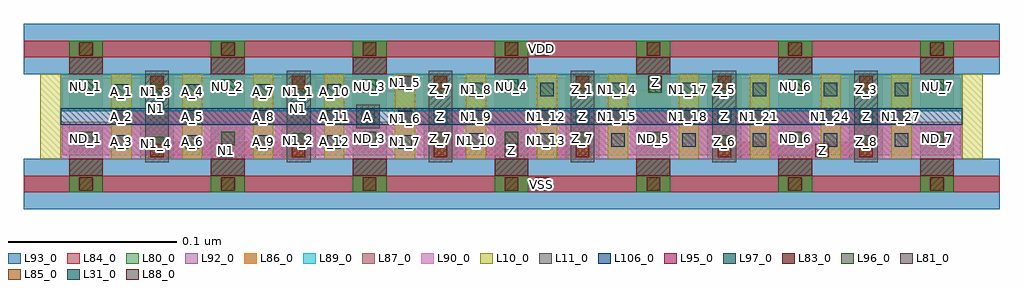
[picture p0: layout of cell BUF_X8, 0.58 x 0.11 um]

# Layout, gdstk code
import gdstk
lib = gdstk.Library(unit=1e-6, precision=1e-09)
def R(c, l, rs):  # rectangles x0, y0, x1, y1
    for r in rs: c.add(gdstk.rectangle(r[:2], r[2:], *l))
def A(c, l, x, y, w, h, nx, ny, dx, dy):  # array of equal rectangles
    R(c, l, [(x+i*dx, y+j*dy, x+i*dx+w, y+j*dy+h) for i in range(nx) for j in range(ny)])
L10_0 = (10, 0)
L11_0 = (11, 0)
L31_0 = (31, 0)
L80_0 = (80, 0)
L81_0 = (81, 0)
L83_0 = (83, 0)
L84_0 = (84, 0)
L85_0 = (85, 0)
L86_0 = (86, 0)
L87_0 = (87, 0)
L88_0 = (88, 0)
L89_0 = (89, 0)
L90_0 = (90, 0)
L92_0 = (92, 0)
L93_0 = (93, 0)
L95_0 = (95, 0)
L96_0 = (96, 0)
L97_0 = (97, 0)
L106_0 = (106, 0)

buf_x8 = lib.new_cell('BUF_X8')
A(buf_x8, L10_0, -0.027, 0.015, 0.012, 0.05, 14, 1, 0.042, 0)
A(buf_x8, L11_0, 0.035, 0.013, 0.014, 0.034, 6, 2, 0.084, 0.02)
R(buf_x8, L11_0, [(0.16,0.033,0.174,0.047)])
A(buf_x8, L31_0, 0.206, 0.036, 0.008, 0.008, 4, 1, 0.084, 0)
R(buf_x8, L31_0, [(0.163,0.036,0.171,0.044), (0.038,0.041,0.046,0.049), (0.122,0.041,0.13,0.049)])
A(buf_x8, L80_0, -0.01, -0.005, 0.02, 0.021, 7, 1, 0.084, 0)
A(buf_x8, L80_0, -0.01, 0.015, 0.02, 0.02, 13, 1, 0.042, 0)
A(buf_x8, L80_0, -0.01, 0.056, 0.02, 0.029, 7, 1, 0.084, 0)
R(buf_x8, L80_0, [(-0.01,0.045,0.01,0.065), (-0.01,0.045,0.01,0.065), (0.032,0.045,0.052,0.065), (0.032,0.045,0.052,0.065), (0.074,0.045,0.094,0.065), (0.074,0.045,0.094,0.065), (0.116,0.045,0.136,0.065), (0.116,0.045,0.136,0.065), (0.158,0.045,0.178,0.065), (0.158,0.045,0.178,0.065), (0.2,0.045,0.22,0.065), (0.2,0.045,0.22,0.065), (0.242,0.045,0.262,0.065), (0.242,0.045,0.262,0.065), (0.284,0.045,0.304,0.065), (0.284,0.045,0.304,0.065), (0.326,0.045,0.346,0.065), (0.326,0.045,0.346,0.065), (0.368,0.045,0.388,0.065), (0.368,0.045,0.388,0.065), (0.41,0.045,0.43,0.065), (0.41,0.045,0.43,0.065), (0.452,0.045,0.472,0.065), (0.452,0.045,0.472,0.065), (0.494,0.045,0.514,0.065), (0.494,0.045,0.514,0.065)])
A(buf_x8, L81_0, 0.017, 0.036, 0.008, 0.008, 12, 1, 0.042, 0)
R(buf_x8, L81_0, [(0.185,0.056,0.193,0.064)])
A(buf_x8, L83_0, -0.004, -0.004, 0.008, 0.008, 7, 2, 0.084, 0.08)
A(buf_x8, L83_0, 0.038, 0.016, 0.008, 0.008, 6, 2, 0.084, 0.04)
A(buf_x8, L84_0, 0.037, 0.015, 0.031, 0.01, 4, 1, 0.021, 0)
A(buf_x8, L84_0, 0.205, 0.015, 0.031, 0.01, 4, 1, 0.021, 0)
A(buf_x8, L84_0, 0.373, 0.015, 0.031, 0.01, 4, 1, 0.021, 0)
A(buf_x8, L84_0, 0.016, 0.035, 0.031, 0.01, 6, 1, 0.021, 0)
A(buf_x8, L84_0, 0.184, 0.035, 0.031, 0.01, 14, 1, 0.021, 0)
A(buf_x8, L84_0, 0.121, 0.055, 0.031, 0.01, 3, 1, 0.021, 0)
A(buf_x8, L84_0, 0.289, 0.055, 0.031, 0.01, 4, 1, 0.021, 0)
R(buf_x8, L84_0, [(-0.037,-0.005,0.541,0.005), (0.141,0.035,0.174,0.045), (0.037,0.055,0.047,0.065), (0.205,0.055,0.215,0.065), (0.457,0.055,0.467,0.065), (-0.037,0.075,0.541,0.085)])
A(buf_x8, L85_0, 0.038, 0.016, 0.008, 0.008, 6, 2, 0.084, 0.04)
R(buf_x8, L85_0, [(0.163,0.036,0.171,0.044)])
R(buf_x8, L86_0, [(-0.015,0.043,0.519,0.065)])
R(buf_x8, L87_0, [(-0.015,0.015,0.519,0.037)])
R(buf_x8, L88_0, [(0.266,-0.004,0.274,0.004), (0.079,0.016,0.087,0.024), (0.248,0.016,0.256,0.024), (0.432,0.016,0.44,0.024), (0.333,0.056,0.341,0.064), (0.266,0.076,0.274,0.084)])
R(buf_x8, L89_0, [(-0.015,0.043,0.519,0.065)])
R(buf_x8, L90_0, [(-0.015,0.015,0.519,0.037)])
R(buf_x8, L92_0, [(-0.014,0.017,0.518,0.035), (-0.014,0.045,0.518,0.063)])
R(buf_x8, L93_0, [(-0.037,-0.015,0.541,0.015), (-0.037,0.065,0.541,0.095)])
A(buf_x8, L95_0, -0.01, 0.005, 0.02, 0.01, 7, 2, 0.084, 0.06)
A(buf_x8, L96_0, -0.004, 0.023, 0.008, 0.008, 3, 1, 0.084, 0)
A(buf_x8, L96_0, 0.206, 0.023, 0.008, 0.008, 4, 1, 0.042, 0)
A(buf_x8, L96_0, 0.206, 0.052, 0.008, 0.008, 4, 1, 0.084, 0)
A(buf_x8, L96_0, -0.004, 0.054, 0.008, 0.008, 4, 1, 0.084, 0)
R(buf_x8, L96_0, [(0.038,0.02,0.046,0.028), (0.374,0.021,0.382,0.029), (0.458,0.021,0.466,0.029), (0.122,0.022,0.13,0.03), (0.416,0.023,0.424,0.031), (0.5,0.023,0.508,0.031), (0.038,0.051,0.046,0.059), (0.122,0.051,0.13,0.059), (0.333,0.054,0.341,0.062), (0.416,0.054,0.424,0.062), (0.5,0.054,0.508,0.062)])
A(buf_x8, L97_0, 0.017, 0.021, 0.008, 0.008, 5, 1, 0.042, 0)
A(buf_x8, L97_0, 0.227, 0.022, 0.008, 0.008, 7, 2, 0.042, 0.014)
A(buf_x8, L97_0, 0.017, 0.036, 0.008, 0.008, 4, 2, 0.042, 0.015)
A(buf_x8, L97_0, 0.227, 0.052, 0.008, 0.008, 7, 1, 0.042, 0)
R(buf_x8, L97_0, [(0.185,0.035,0.193,0.043), (0.185,0.056,0.193,0.064)])
R(buf_x8, L106_0, [(-0.015,0.035,0.519,0.045)])
buf_x8.add(gdstk.Label('Z', (0.436,0.02), layer=88, texttype=0))
buf_x8.add(gdstk.Label('Z', (0.337,0.06), layer=88, texttype=0))
buf_x8.add(gdstk.Label('Z', (0.252,0.02), layer=88, texttype=0))
buf_x8.add(gdstk.Label('N1', (0.083,0.02), layer=88, texttype=0))
buf_x8.add(gdstk.Label('VSS', (0.27,0), layer=88, texttype=0))
buf_x8.add(gdstk.Label('VDD', (0.27,0.08), layer=88, texttype=0))
buf_x8.add(gdstk.Label('Z_3', (0.462,0.056), layer=96, texttype=0))
buf_x8.add(gdstk.Label('Z_8', (0.462,0.025), layer=96, texttype=0))
buf_x8.add(gdstk.Label('Z_6', (0.378,0.025), layer=96, texttype=0))
buf_x8.add(gdstk.Label('Z_5', (0.378,0.056), layer=96, texttype=0))
buf_x8.add(gdstk.Label('Z_1', (0.294,0.056), layer=96, texttype=0))
buf_x8.add(gdstk.Label('Z_7', (0.294,0.027), layer=96, texttype=0))
buf_x8.add(gdstk.Label('Z_7', (0.21,0.027), layer=96, texttype=0))
buf_x8.add(gdstk.Label('Z_7', (0.21,0.056), layer=96, texttype=0))
buf_x8.add(gdstk.Label('N1_2', (0.126,0.026), layer=96, texttype=0))
buf_x8.add(gdstk.Label('N1_1', (0.126,0.055), layer=96, texttype=0))
buf_x8.add(gdstk.Label('N1_4', (0.042,0.024), layer=96, texttype=0))
buf_x8.add(gdstk.Label('N1_3', (0.042,0.055), layer=96, texttype=0))
buf_x8.add(gdstk.Label('ND_1', (0,0.027), layer=96, texttype=0))
buf_x8.add(gdstk.Label('ND_2', (0.084,0.027), layer=96, texttype=0))
buf_x8.add(gdstk.Label('ND_3', (0.168,0.027), layer=96, texttype=0))
buf_x8.add(gdstk.Label('ND_4', (0.252,0.027), layer=96, texttype=0))
buf_x8.add(gdstk.Label('ND_5', (0.336,0.027), layer=96, texttype=0))
buf_x8.add(gdstk.Label('ND_6', (0.42,0.027), layer=96, texttype=0))
buf_x8.add(gdstk.Label('ND_7', (0.504,0.027), layer=96, texttype=0))
buf_x8.add(gdstk.Label('NU_7', (0.504,0.058), layer=96, texttype=0))
buf_x8.add(gdstk.Label('NU_6', (0.42,0.058), layer=96, texttype=0))
buf_x8.add(gdstk.Label('NU_5', (0.337,0.058), layer=96, texttype=0))
buf_x8.add(gdstk.Label('NU_4', (0.252,0.058), layer=96, texttype=0))
buf_x8.add(gdstk.Label('NU_3', (0.168,0.058), layer=96, texttype=0))
buf_x8.add(gdstk.Label('NU_2', (0.084,0.058), layer=96, texttype=0))
buf_x8.add(gdstk.Label('NU_1', (0,0.058), layer=96, texttype=0))
buf_x8.add(gdstk.Label('Z', (0.462,0.04), layer=31, texttype=0))
buf_x8.add(gdstk.Label('Z', (0.378,0.04), layer=31, texttype=0))
buf_x8.add(gdstk.Label('Z', (0.294,0.04), layer=31, texttype=0))
buf_x8.add(gdstk.Label('Z', (0.21,0.04), layer=31, texttype=0))
buf_x8.add(gdstk.Label('N1', (0.042,0.045), layer=31, texttype=0))
buf_x8.add(gdstk.Label('N1', (0.126,0.045), layer=31, texttype=0))
buf_x8.add(gdstk.Label('A', (0.167,0.04), layer=31, texttype=0))
buf_x8.add(gdstk.Label('N1_28', (0.483,0.026), layer=97, texttype=0))
buf_x8.add(gdstk.Label('N1_25', (0.441,0.026), layer=97, texttype=0))
buf_x8.add(gdstk.Label('N1_22', (0.399,0.026), layer=97, texttype=0))
buf_x8.add(gdstk.Label('N1_19', (0.357,0.026), layer=97, texttype=0))
buf_x8.add(gdstk.Label('N1_16', (0.315,0.026), layer=97, texttype=0))
buf_x8.add(gdstk.Label('N1_10', (0.231,0.026), layer=97, texttype=0))
buf_x8.add(gdstk.Label('N1_13', (0.273,0.026), layer=97, texttype=0))
buf_x8.add(gdstk.Label('N1_12', (0.273,0.04), layer=97, texttype=0))
buf_x8.add(gdstk.Label('N1_15', (0.315,0.04), layer=97, texttype=0))
buf_x8.add(gdstk.Label('N1_18', (0.357,0.04), layer=97, texttype=0))
buf_x8.add(gdstk.Label('N1_21', (0.399,0.04), layer=97, texttype=0))
buf_x8.add(gdstk.Label('N1_24', (0.441,0.04), layer=97, texttype=0))
buf_x8.add(gdstk.Label('N1_27', (0.483,0.04), layer=97, texttype=0))
buf_x8.add(gdstk.Label('N1_26', (0.483,0.056), layer=97, texttype=0))
buf_x8.add(gdstk.Label('N1_23', (0.441,0.056), layer=97, texttype=0))
buf_x8.add(gdstk.Label('N1_20', (0.399,0.056), layer=97, texttype=0))
buf_x8.add(gdstk.Label('N1_17', (0.357,0.056), layer=97, texttype=0))
buf_x8.add(gdstk.Label('N1_14', (0.315,0.056), layer=97, texttype=0))
buf_x8.add(gdstk.Label('N1_11', (0.273,0.056), layer=97, texttype=0))
buf_x8.add(gdstk.Label('N1_8', (0.231,0.056), layer=97, texttype=0))
buf_x8.add(gdstk.Label('N1_9', (0.231,0.04), layer=97, texttype=0))
buf_x8.add(gdstk.Label('N1_7', (0.189,0.025), layer=97, texttype=0))
buf_x8.add(gdstk.Label('N1_6', (0.189,0.039), layer=97, texttype=0))
buf_x8.add(gdstk.Label('N1_5', (0.189,0.06), layer=97, texttype=0))
buf_x8.add(gdstk.Label('A_12', (0.147,0.025), layer=97, texttype=0))
buf_x8.add(gdstk.Label('A_9', (0.105,0.025), layer=97, texttype=0))
buf_x8.add(gdstk.Label('A_6', (0.063,0.025), layer=97, texttype=0))
buf_x8.add(gdstk.Label('A_3', (0.021,0.025), layer=97, texttype=0))
buf_x8.add(gdstk.Label('A_2', (0.021,0.04), layer=97, texttype=0))
buf_x8.add(gdstk.Label('A_5', (0.063,0.04), layer=97, texttype=0))
buf_x8.add(gdstk.Label('A_8', (0.105,0.04), layer=97, texttype=0))
buf_x8.add(gdstk.Label('A_11', (0.147,0.04), layer=97, texttype=0))
buf_x8.add(gdstk.Label('A_10', (0.147,0.055), layer=97, texttype=0))
buf_x8.add(gdstk.Label('A_7', (0.105,0.055), layer=97, texttype=0))
buf_x8.add(gdstk.Label('A_4', (0.063,0.055), layer=97, texttype=0))
buf_x8.add(gdstk.Label('A_1', (0.021,0.055), layer=97, texttype=0))

lib.write_gds('BUF_X8.gds')
